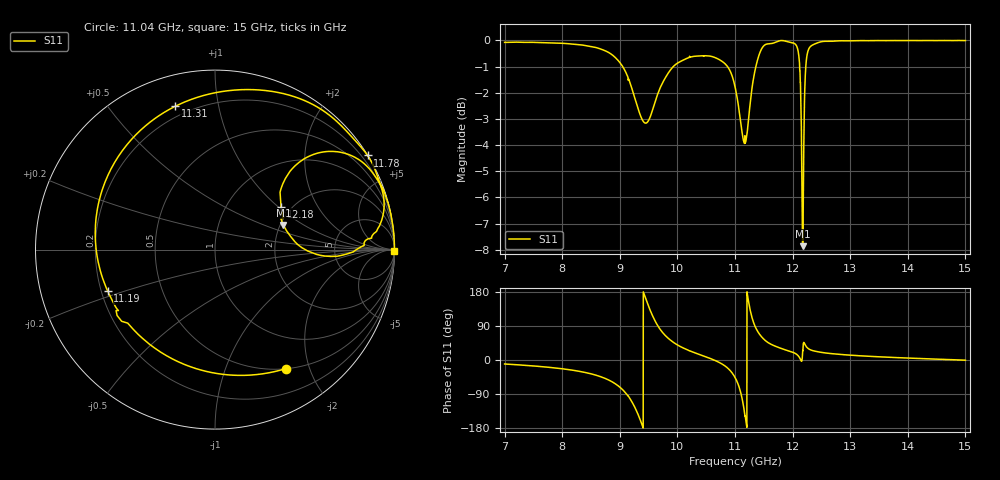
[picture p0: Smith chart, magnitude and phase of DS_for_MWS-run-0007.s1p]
! TOUCHSTONE file generated by CST DESIGN STUDIO
! Date and time: Mon Feb 10 16:52:24 2025
! Project name: C:\Work\MatlabApps\UnitCellType2OptimizationMatlab\CST\unitcell.cst
! Tree item: Tasks\Sweep1\SPara1\S-Parameters
! Header version: 2024
! Port assignment regex: !\s*Touchstone port\s*([0-9]+)\s*=\s*(CST MWS port|CST DES external port|CST DES block port)\s*(.+)\s* \(\"(.*)\"\)(\s*mode\s*([0-9]+))?.*
! Touchstone port assignment:
! Touchstone port 1 = CST DES external port 1 ("")
# GHz S MA R 50
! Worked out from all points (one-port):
!   4001 points, 7 GHz to 15 GHz, reference 50 ohm
!   lowest |S11| = -7.9 dB at 12.17 GHz (marker M1), VSWR 2.36, Z = 104 + j34 ohm
!   |S11| at or under -10 dB: nowhere
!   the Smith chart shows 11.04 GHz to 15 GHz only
!   S11 on the Smith chart (normalised r, x): 11.04 GHz: 0.50, -1.65; 11.19 GHz: 0.23, -0.18; 11.31 GHz: 0.15, +0.75; 11.78 GHz: 0.01, +3.52; 12.18 GHz: 1.77, +1.05; 15 GHz: open
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7  0.9917 -10.5
8  0.9877 -23.1
8.632  0.9661 -42.2
9  0.9076 -71.6
9.222  0.8014 -113.6
9.412  0.6993 178.1
9.53  0.7156 130.1
9.64  0.78 95.4
10  0.9048 39.8
10.662  0.9267 -1.8
10.872  0.8909 -21.2
11  0.8165 -45.9
11.042  0.7716 -59.2
11.122  0.6683 -100.9
11.188  0.6411 -158.9
11.238  0.7114 151.9
11.308  0.8289 105.4
11.496  0.9758 55.6
11.78  0.9989 31.7
12  0.9895 20.6
12.104  0.9428 10.0
12.174  0.4044 19.8
12.182  0.4392 33.1
12.23  0.8942 37.1
12.336  0.9788 25.4
13  0.9984 12.8
14  0.9998 5.1
15  0.9994 -0.5
